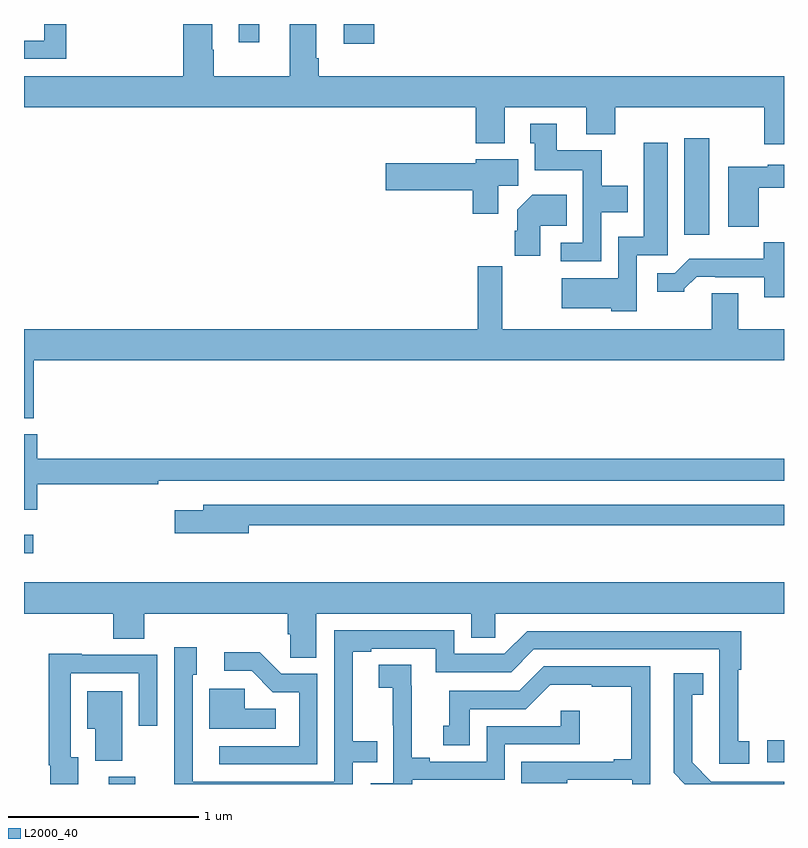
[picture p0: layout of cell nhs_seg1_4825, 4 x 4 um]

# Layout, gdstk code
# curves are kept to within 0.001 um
import gdstk
lib = gdstk.Library(unit=1e-6, precision=1e-09)
def R(c, l, rs):  # rectangles x0, y0, x1, y1
    for r in rs: c.add(gdstk.rectangle(r[:2], r[2:], *l))
def P(c, l, *ps):  # polygons
    for p in ps: c.add(gdstk.Polygon(p, *l))
L2000_40 = (2000, 40)

nhs_seg1_4825 = lib.new_cell('nhs_seg1_4825')
R(nhs_seg1_4825, L2000_40, [(373.445,520.199,373.585,520.236), (376.911,520.314,377,520.43), (373,521.414,373.048,521.512), (376.475,523.089,376.606,523.597), (374.684,524.094,374.843,524.199), (374.129,524.103,374.239,524.199)])
P(nhs_seg1_4825, L2000_40, [(377,523.924),(374.552,523.924),(374.552,524.02),(374.539,524.02),(374.539,524.199),(374.399,524.199),(374.399,523.924),(373.998,523.924),(373.998,524.063),(373.99,524.063),(373.99,524.199),(373.838,524.199),(373.838,523.924),(373,523.924),(373,523.76),(375.377,523.76),(375.377,523.571),(375.529,523.571),(375.529,523.76),(375.959,523.76),(375.959,523.619),(376.112,523.619),(376.112,523.76),(376.895,523.76),(376.895,523.566),(377,523.566)],
  [(373.223,524.199),(373.107,524.199),(373.107,524.112),(373,524.112),(373,524.016),(373.223,524.016)],
  [(376.038,523.208),(376.177,523.208),(376.177,523.348),(376.041,523.348),(376.041,523.534),(375.805,523.534),(375.805,523.675),(375.665,523.675),(375.665,523.572),(375.689,523.572),(375.689,523.43),(375.942,523.43),(375.942,523.047),(375.825,523.047),(375.825,522.951),(376.038,522.951)],
  [(376.224,522.981),(376.387,522.981),(376.387,523.573),(376.262,523.573),(376.262,523.078),(376.128,523.078),(376.128,522.862),(375.831,522.862),(375.831,522.704),(376.092,522.704),(376.092,522.686),(376.224,522.686)],
  [(375.496,523.348),(375.601,523.348),(375.601,523.486),(375.378,523.486),(375.378,523.467),(374.904,523.467),(374.904,523.325),(375.362,523.325),(375.362,523.2),(375.496,523.2)],
  [(376.868,523.337),(377,523.337),(377,523.459),(376.914,523.459),(376.914,523.447),(376.706,523.447),(376.706,523.133),(376.868,523.133)],
  [(375.718,523.136),(375.857,523.136),(375.857,523.3),(375.674,523.3),(375.596,523.222),(375.596,523.112),(375.584,523.112),(375.584,522.978),(375.718,522.978)],
  [(377,523.051),(376.893,523.051),(376.893,522.964),(376.501,522.964),(376.425,522.888),(376.332,522.888),(376.332,522.791),(376.476,522.791),(376.476,522.806),(376.54,522.87),(376.639,522.87),(376.639,522.867),(376.895,522.867),(376.895,522.762),(377,522.762)],
  [(377,522.592),(376.759,522.592),(376.759,522.782),(376.619,522.782),(376.619,522.592),(375.517,522.592),(375.517,522.925),(375.388,522.925),(375.388,522.592),(373,522.592),(373,522.124),(373.052,522.124),(373.052,522.428),(377,522.428)],
  [(373.07,521.776),(373.706,521.776),(373.706,521.796),(377,521.796),(377,521.912),(373.07,521.912),(373.07,522.039),(373,522.039),(373,521.643),(373.07,521.643)],
  [(374.182,521.562),(377,521.562),(377,521.67),(373.943,521.67),(373.943,521.641),(373.794,521.641),(373.794,521.519),(374.182,521.519)],
  [(374.539,521.096),(375.353,521.096),(375.353,520.969),(375.48,520.969),(375.48,521.096),(377,521.096),(377,521.26),(373,521.26),(373,521.096),(373.469,521.096),(373.469,520.963),(373.634,520.963),(373.634,521.096),(374.387,521.096),(374.387,520.987),(374.4,520.987),(374.4,520.864),(374.539,520.864)],
  [(374.73,520.314),(374.858,520.314),(374.858,520.423),(374.731,520.423),(374.731,520.896),(374.827,520.896),(374.827,520.911),(375.168,520.911),(375.168,520.788),(375.564,520.788),(375.684,520.908),(376.659,520.908),(376.658,520.305),(376.816,520.305),(376.816,520.425),(376.758,520.425),(376.758,520.801),(376.775,520.801),(376.775,521.004),(375.648,521.004),(375.528,520.884),(375.264,520.884),(375.264,521.007),(374.634,521.007),(374.634,520.212),(373.887,520.212),(373.887,520.773),(373.909,520.773),(373.909,520.918),(373.791,520.918),(373.79,520.199),(374.73,520.199)],
  [(374.544,520.779),(374.355,520.779),(374.242,520.892),(374.055,520.892),(374.055,520.794),(374.199,520.794),(374.31,520.683),(374.448,520.683),(374.448,520.398),(374.028,520.398),(374.028,520.302),(374.544,520.302)],
  [(373.285,520.341),(373.245,520.341),(373.245,520.782),(373.605,520.782),(373.605,520.506),(373.701,520.506),(373.701,520.878),(373.305,520.878),(373.305,520.885),(373.129,520.885),(373.129,520.297),(373.137,520.297),(373.137,520.199),(373.285,520.199)],
  [(375.044,520.221),(375.531,520.221),(375.531,520.407),(375.926,520.407),(375.926,520.585),(375.825,520.585),(375.825,520.503),(375.435,520.503),(375.435,520.317),(375.136,520.317),(375.136,520.337),(375.04,520.337),(375.04,520.715),(375.038,520.715),(375.038,520.826),(374.868,520.826),(374.868,520.705),(374.942,520.705),(374.942,520.507),(374.943,520.507),(374.943,520.203),(374.826,520.203),(374.826,520.199),(375.044,520.199)],
  [(376.296,520.818),(375.735,520.818),(375.606,520.689),(375.239,520.689),(375.239,520.506),(375.206,520.506),(375.206,520.402),(375.346,520.402),(375.346,520.593),(375.642,520.593),(375.77,520.721),(375.989,520.721),(375.989,520.71),(376.195,520.71),(376.195,520.33),(376.103,520.33),(376.103,520.317),(375.616,520.317),(375.616,520.202),(375.859,520.202),(375.859,520.221),(376.2,520.221),(376.2,520.199),(376.296,520.199)],
  [(377,520.212),(376.617,520.212),(376.516,520.313),(376.516,520.67),(376.574,520.67),(376.574,520.783),(376.419,520.783),(376.419,520.258),(376.478,520.199),(377,520.199)],
  [(374.326,520.594),(374.163,520.594),(374.163,520.701),(373.976,520.701),(373.976,520.49),(374.326,520.49)],
  [(373.516,520.687),(373.334,520.687),(373.334,520.49),(373.376,520.49),(373.376,520.321),(373.516,520.321)])

lib.write_gds('nhs_seg1_4825.gds')
